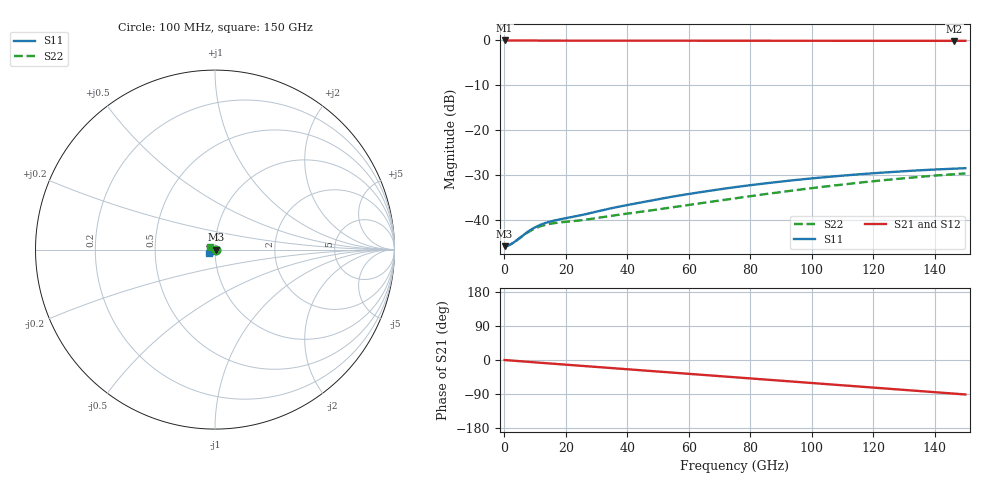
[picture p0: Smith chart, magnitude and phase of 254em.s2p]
#  Hz  S  RI  R  50
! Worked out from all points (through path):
!   1500 points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, 100 MHz to 150 GHz, reference 50 ohm
!   highest |S21| = -0.04 dB at 100 MHz (marker M1); lowest = -0.1 dB at 146.4 GHz (marker M2)
!   group delay of S21, straight-line fit = 1.68 ps
!   lowest |S11| = -45.9 dB at 100 MHz (marker M3), VSWR 1.01, Z = 50.5 + j0.00262 ohm
!   |S11| at or under -10 dB: start of sweep to end of sweep
!   |S22| runs from -45.9 to -29.7 dB; largest |S21 - S12| = 8.7e-05
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1e8  0.00507 2.6e-05  0.9951 -0.00112  0.9951 -0.00112  0.00509 2.62e-05
1.2e9  0.00515 0.000304  0.9949 -0.0134  0.9949 -0.0134  0.00516 0.000307
2.4e9  0.00537 0.000566  0.9944 -0.0267  0.9944 -0.0267  0.00537 0.000572
3.5e9  0.00568 0.000737  0.9936 -0.0389  0.9936 -0.0389  0.00566 0.000746
6.4e9  0.0068 0.000724  0.9907 -0.0702  0.9907 -0.0702  0.00671 0.000749
8.1e9  0.00752 0.000372  0.9885 -0.0882  0.9885 -0.0882  0.00737 0.000411
1e10  0.00822 -0.00028  0.9858 -0.108  0.9858 -0.108  0.00799 -0.000219
1.19e10  0.00875 -0.00112  0.9829 -0.1275  0.9829 -0.1275  0.00842 -0.00103
1.39e10  0.00909 -0.00209  0.9797 -0.148  0.9797 -0.148  0.00864 -0.00196
1.61e10  0.00924 -0.00315  0.9758 -0.1706  0.9758 -0.1706  0.00865 -0.00297
2.51e10  0.00902 -0.00673  0.9545 -0.2623  0.9545 -0.2623  0.00765 -0.00624
3.76e10  0.0079 -0.0116  0.911 -0.3852  0.911 -0.3852  0.00503 -0.0102
5.01e10  0.0056 -0.016  0.8518 -0.5015  0.8518 -0.5015  0.000941 -0.013
6.22e10  0.00246 -0.0197  0.7805 -0.6058  0.7805 -0.6058  -0.00394 -0.0145
7.51e10  -0.00162 -0.023  0.6906 -0.7059  0.6907 -0.7059  -0.00959 -0.0145
8.77e10  -0.00625 -0.0253  0.5905 -0.791  0.5905 -0.791  -0.0152 -0.0128
1.001e11  -0.0113 -0.0266  0.4819 -0.861  0.4819 -0.861  -0.0203 -0.00978
1.129e11  -0.0167 -0.0269  0.3613 -0.9177  0.3613 -0.9177  -0.0248 -0.00529
1.251e11  -0.0218 -0.0259  0.2402 -0.9561  0.2402 -0.9561  -0.0279 6.01e-05
1.358e11  -0.0261 -0.0243  0.1307 -0.9769  0.1308 -0.977  -0.0297 0.00525
1.464e11  -0.03 -0.0218  0.0209 -0.9848  0.0209 -0.9849  -0.0303 0.0107
1.5e11  -0.0312 -0.0209  -0.0164 -0.985  -0.0164 -0.9851  -0.0303 0.0125
